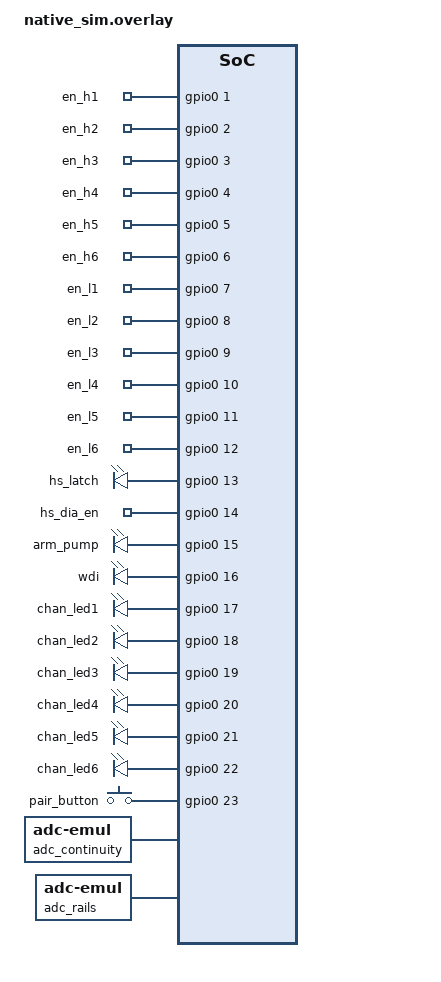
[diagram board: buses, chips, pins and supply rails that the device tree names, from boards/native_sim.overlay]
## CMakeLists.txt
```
# SPDX-License-Identifier: GPL-3.0-only

cmake_minimum_required(VERSION 3.20.0)

# The satellite board itself: firmware/boards/others/alturia_satellite.
list(APPEND BOARD_ROOT ${CMAKE_CURRENT_SOURCE_DIR}/..)

find_package(Zephyr REQUIRED HINTS $ENV{ZEPHYR_BASE})
project(launch_satellite)

target_sources(app PRIVATE
	src/main.c
	src/commands.c
	src/pair_ui.c
	src/channels.c
	src/rail.c
	src/shell_cmds.c
	src/arm.c
	src/fault.c
	src/ignlog.c
)

# The satellite's end of the secure LoRa link, shared with the bench.
set(LSEC_LINK sat)
set(LSEC_RADIO ON)
include(${CMAKE_CURRENT_SOURCE_DIR}/../common/link/link_sec.cmake)

# Command and status payloads, shared with the controller.
target_include_directories(app PRIVATE ../common/wire)
target_sources(app PRIVATE ../common/wire/sat_wire.c)

# Ignition log records, and their mcumgr group, shared with the controller.
include(${CMAKE_CURRENT_SOURCE_DIR}/../common/ignlog/ignlog.cmake)

# Buzzer tunes, shared with the controller.
target_include_directories(app PRIVATE ../common/chime)
target_sources(app PRIVATE ../common/chime/chime.c)

# native_sim: LEDs and pairing button in the radio network simulator's UI.
if(LSEC_RADIO_SIM)
	target_sources(app PRIVATE src/sim_io.c)
endif()

# Firmware updates: refuse while armed, confirm a new image once up.
include(${CMAKE_CURRENT_SOURCE_DIR}/../common/mgmt/dfu_guard.cmake)
```

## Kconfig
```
# SPDX-License-Identifier: GPL-3.0-only

mainmenu "Launch satellite"

rsource "../common/link/Kconfig"

menu "Ignition log"

config SAT_IGNLOG_RECORDS
	int "Channel pulses kept"
	default 8
	range 1 8
	help
	  How many records the ignition log keeps in RAM, one per channel
	  and pulse; the oldest goes first. Each one takes
	  32 + 2 * SAT_IGNLOG_MAX_SAMPLES bytes.

config SAT_IGNLOG_MAX_SAMPLES
	int "Samples per record"
	default 1024
	range 16 8192

config SAT_IGNLOG_PERIOD_US
	int "Sample period (us)"
	default 1000
	range 200 10000
	help
	  The MCP3208 at 1 MHz takes about 25 us per conversion; with six
	  channels and V_PYRO, 1 ms leaves the CPU most of its time.

endmenu

source "Kconfig.zephyr"
```

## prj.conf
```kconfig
CONFIG_MAIN_STACK_SIZE=4096

# Diagnostics over the USB console and the UART header
CONFIG_LOG=y
CONFIG_SHELL=y
CONFIG_SHELL_LOG_BACKEND=n

# Peripherals the satellite drives
CONFIG_GPIO=y
CONFIG_SPI=y
CONFIG_ADC=y
CONFIG_SENSOR=y
# The SPI-attached ADCs must come up after the SPI controller
CONFIG_ADC_INIT_PRIORITY=80

# Key and configuration storage
CONFIG_FLASH=y
CONFIG_FLASH_MAP=y
CONFIG_ZMS=y
CONFIG_SETTINGS=y
CONFIG_SETTINGS_ZMS=y

# Link security (../common/link, documentation/radio_link.md): ECDH P-256 for
# pairing, HMAC/HKDF-SHA256 for commitments and key derivation, AES-128-CCM
# for every frame.
CONFIG_PSA_CRYPTO=y
CONFIG_MBEDTLS_ENABLE_HEAP=y
CONFIG_MBEDTLS_HEAP_SIZE=8192
CONFIG_PSA_WANT_KEY_TYPE_AES=y
CONFIG_PSA_WANT_ALG_CCM=y
CONFIG_PSA_WANT_ALG_SHA_256=y
CONFIG_PSA_WANT_ALG_HMAC=y
CONFIG_PSA_WANT_ALG_ECDH=y
CONFIG_PSA_WANT_ALG_HKDF=y
CONFIG_PSA_WANT_ECC_SECP_R1_256=y
CONFIG_PSA_WANT_KEY_TYPE_ECC_KEY_PAIR_GENERATE=y
CONFIG_PSA_WANT_KEY_TYPE_ECC_PUBLIC_KEY=y

# CRCs over the ignition log records kept in RAM over a reset
CONFIG_CRC=y

# Satellite identity for pairing, and the pairing button
CONFIG_HWINFO=y
CONFIG_INPUT=y

# TRNG for nonces and session keys
CONFIG_ENTROPY_GENERATOR=y
```

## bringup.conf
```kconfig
# SPDX-License-Identifier: GPL-3.0-only
#
# Bring-up shells: poke pins and read the ADCs from the shell
# (gpio get/set/conf/info, adc <dev> read <ch>, pwm). They cost some
# 15 KB, so they are off in the normal build to leave the app room in
# MCUboot's slots. Add them with
#   west build ... -- -Dsatellite_EXTRA_CONF_FILE=bringup.conf   (sysbuild)
#   west build ... -- -DEXTRA_CONF_FILE=bringup.conf             (without)

CONFIG_GPIO_SHELL=y
CONFIG_ADC_SHELL=y
CONFIG_PWM_SHELL=y
```

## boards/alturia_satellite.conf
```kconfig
# The real satellite board (firmware/boards/others/alturia_satellite). The console
# and shell are on USB-C; the board turns on the CDC ACM backend.

# LoRa link to the operator console (Wio-SX1262)
CONFIG_LORA=y
CONFIG_LORA_SHELL=n

# The native SX126x driver, kept in standby between operations. It waits
# on BUSY without sleeping, so a reply goes out within a millisecond of
# its slot starting. loramac-node sleeps the chip after every call, which
# put some 40 ms of jitter-prone setup around each transmission.
CONFIG_LORA_MODULE_BACKEND_NATIVE=y
CONFIG_LORA_SX126X_NATIVE_SLEEP=n

CONFIG_CDC_ACM_SERIAL_PRODUCT_STRING="Launch satellite"

# Start-up chime on the PWM buzzer
CONFIG_BUZZER=y

# Same timer resolution as the controller: slot timing is in 100 us.
CONFIG_SYS_CLOCK_TICKS_PER_SEC=10000

# The GPIO, ADC and PWM shells for bring-up are in bringup.conf; with
# MCUboot's two slots the app has to stay under 232 KB. devmem and date
# are of no use on the satellite either.
CONFIG_DEVMEM_SHELL=n
CONFIG_DATE_SHELL=n
# kernel reboot
CONFIG_REBOOT=y

# The USB console is the shell, so logs have to go through it; without
# this they go nowhere on this board.
CONFIG_SHELL_LOG_BACKEND=y
```

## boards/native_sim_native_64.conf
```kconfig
# The satellite as a node of the radio network simulator (tools/radiosim):
# the link runs over common/lora/radio_sim.c, the pyro outputs, LEDs and
# the pairing button are emulated GPIOs, the ADCs emulated ADCs, and the
# console is the native_sim UART.
CONFIG_GPIO_EMUL=y
CONFIG_ADC_EMUL=y
CONFIG_SERIAL=y

# Same timer resolution as the controller: slot timing is in 100 us.
CONFIG_SYS_CLOCK_TICKS_PER_SEC=10000
```

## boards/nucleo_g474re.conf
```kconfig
# Hardware of the satellite board (here the Nucleo with the SX1262 shield)
# that native_sim does not have; see boards/native_sim_native_64.conf for that one.

# LoRa link to the operator console (SX1262; Wio-SX1262 on the board)
CONFIG_LORA=y
CONFIG_LORA_SHELL=n

# Console over USB-C (CDC ACM). Keys are no longer loaded this way: the
# satellite pairs with the console over LoRa, see documentation/radio_link.md.
CONFIG_USB_DEVICE_STACK_NEXT=y
CONFIG_SERIAL=y
CONFIG_CDC_ACM_SERIAL_INITIALIZE_AT_BOOT=y
CONFIG_CDC_ACM_SERIAL_PRODUCT_STRING="Launch satellite"

# The native SX126x driver, kept in standby between operations. It waits
# on BUSY without sleeping, so a reply goes out within a millisecond of
# its slot starting. loramac-node sleeps the chip after every call, which
# put some 40 ms of jitter-prone setup around each transmission.
CONFIG_LORA_MODULE_BACKEND_NATIVE=y
CONFIG_LORA_SX126X_NATIVE_SLEEP=n
```

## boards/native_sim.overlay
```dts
/*
 * The satellite on native_sim, as a node of the radio network simulator
 * (tools/radiosim). Every output the real board drives is a pin of the
 * emulated gpio0 so the simulator can show it, and the ADCs are emulators.
 *
 *   gpio0  0      status LED (the board's led0)
 *          1-6    high-side enables EN_H1..6
 *          7-12   low-side gates EN_L1..6
 *          13-16  HS latch, HS diagnostics, arm pump, watchdog
 *          17-22  channel LEDs 1..6, which also show the pairing pattern
 *          23     pairing button (the continuity button on the board)
 */

#include <zephyr/dt-bindings/gpio/gpio.h>
#include <zephyr/dt-bindings/input/input-event-codes.h>

/ {
	aliases {
		chan-led0 = &chan_led1;
		chan-led1 = &chan_led2;
		chan-led2 = &chan_led3;
		chan-led3 = &chan_led4;
		chan-led4 = &chan_led5;
		chan-led5 = &chan_led6;
	};

	pyro_enables {
		compatible = "gpio-leds";
		en_h1: en_h1 { gpios = <&gpio0 1 GPIO_ACTIVE_HIGH>; };
		en_h2: en_h2 { gpios = <&gpio0 2 GPIO_ACTIVE_HIGH>; };
		en_h3: en_h3 { gpios = <&gpio0 3 GPIO_ACTIVE_HIGH>; };
		en_h4: en_h4 { gpios = <&gpio0 4 GPIO_ACTIVE_HIGH>; };
		en_h5: en_h5 { gpios = <&gpio0 5 GPIO_ACTIVE_HIGH>; };
		en_h6: en_h6 { gpios = <&gpio0 6 GPIO_ACTIVE_HIGH>; };
		en_l1: en_l1 { gpios = <&gpio0 7 GPIO_ACTIVE_HIGH>; };
		en_l2: en_l2 { gpios = <&gpio0 8 GPIO_ACTIVE_HIGH>; };
		en_l3: en_l3 { gpios = <&gpio0 9 GPIO_ACTIVE_HIGH>; };
		en_l4: en_l4 { gpios = <&gpio0 10 GPIO_ACTIVE_HIGH>; };
		en_l5: en_l5 { gpios = <&gpio0 11 GPIO_ACTIVE_HIGH>; };
		en_l6: en_l6 { gpios = <&gpio0 12 GPIO_ACTIVE_HIGH>; };
		hs_latch: hs_latch { gpios = <&gpio0 13 GPIO_ACTIVE_HIGH>; };
		hs_dia_en: hs_dia_en { gpios = <&gpio0 14 GPIO_ACTIVE_HIGH>; };
		arm_pump: arm_pump { gpios = <&gpio0 15 GPIO_ACTIVE_HIGH>; };
		wdi: wdi { gpios = <&gpio0 16 GPIO_ACTIVE_HIGH>; };
	};

	chan_leds {
		compatible = "gpio-leds";
		chan_led1: chan_led1 { gpios = <&gpio0 17 GPIO_ACTIVE_HIGH>; };
		chan_led2: chan_led2 { gpios = <&gpio0 18 GPIO_ACTIVE_HIGH>; };
		chan_led3: chan_led3 { gpios = <&gpio0 19 GPIO_ACTIVE_HIGH>; };
		chan_led4: chan_led4 { gpios = <&gpio0 20 GPIO_ACTIVE_HIGH>; };
		chan_led5: chan_led5 { gpios = <&gpio0 21 GPIO_ACTIVE_HIGH>; };
		chan_led6: chan_led6 { gpios = <&gpio0 22 GPIO_ACTIVE_HIGH>; };
	};

	pair_keys {
		compatible = "gpio-keys";

		pair_button: pair_button {
			gpios = <&gpio0 23 GPIO_ACTIVE_HIGH>;
			zephyr,code = <INPUT_KEY_0>;
		};
	};

	/* 24-bit continuity ADC and 12-bit rail ADC. */
	adc_continuity: adc_continuity {
		compatible = "zephyr,adc-emul";
		nchannels = <6>;
		ref-internal-mv = <2500>;
		#io-channel-cells = <1>;
		status = "okay";
	};

	adc_rails: adc_rails {
		compatible = "zephyr,adc-emul";
		nchannels = <8>;
		ref-external0-mv = <4096>;
		#io-channel-cells = <1>;
		status = "okay";
	};
};
```

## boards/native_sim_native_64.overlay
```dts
/* 64-bit native_sim uses the same setup. */
#include "native_sim.overlay"
```

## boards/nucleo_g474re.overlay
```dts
/*
 * Stand-in wiring for the satellite board on a Nucleo-G474RE, so that every
 * driver the real board needs is compiled into the image. Pin choices are
 * arbitrary where the Nucleo has no equivalent; only the device set matters.
 *
 * The SX1262 comes from the semtech_sx1262mb2das shield on arduino_spi.
 * Its RF switch is driven the way the board's Wio-SX1262 needs: DIO2
 * selects TX and antenna-enable-gpios powers the switch. The board port
 * adds dio3-tcxo-voltage = <SX126X_DIO3_TCXO_1V8> and puts
 * antenna-enable-gpios on PC13 (LORA_RF_SW).
 */

#include <zephyr/dt-bindings/gpio/gpio.h>

/* USB-C: key provisioning path. The Nucleo has no USB connector, but the
 * G474 peripheral is the same one the satellite board uses.
 */
zephyr_udc0: &usb {
	pinctrl-0 = <&usb_dm_pa11 &usb_dp_pa12>;
	pinctrl-names = "default";
	status = "okay";

	cdc_acm_uart0: cdc_acm_uart0 {
		compatible = "zephyr,cdc-acm-uart";
	};
};

/* Sense chain: 24-bit ADC for continuity, 12-bit ADC for the rail dividers. */
&spi2 {
	cs-gpios = <&gpiob 12 GPIO_ACTIVE_LOW>,
		   <&gpioc 6 GPIO_ACTIVE_LOW>;

	adc_continuity: ads124s08@0 {
		compatible = "ti,ads124s08";
		reg = <0>;
		spi-max-frequency = <4000000>;
		#io-channel-cells = <1>;
		drdy-gpios = <&gpioc 0 GPIO_ACTIVE_LOW>;
		reset-gpios = <&gpioc 1 GPIO_ACTIVE_LOW>;
		start-sync-gpios = <&gpioc 2 GPIO_ACTIVE_HIGH>;
	};

	adc_rails: mcp3208@1 {
		compatible = "microchip,mcp3208";
		reg = <1>;
		spi-max-frequency = <1000000>;
		#io-channel-cells = <1>;
	};
};

/* Pyro channel control lines. On the satellite these are G474 GPIOs driving
 * the TPS1HB08 enables and the low-side gates directly; gpio-leds is a
 * stand-in compatible so they can be fetched with GPIO_DT_SPEC_GET.
 */
/ {
	pyro_enables {
		compatible = "gpio-leds";
		en_h1: en_h1 { gpios = <&gpioa 0 GPIO_ACTIVE_HIGH>; };
		en_h2: en_h2 { gpios = <&gpioa 1 GPIO_ACTIVE_HIGH>; };
		en_h3: en_h3 { gpios = <&gpioa 4 GPIO_ACTIVE_HIGH>; };
		en_h4: en_h4 { gpios = <&gpioa 8 GPIO_ACTIVE_HIGH>; };
		en_h5: en_h5 { gpios = <&gpioa 9 GPIO_ACTIVE_HIGH>; };
		en_h6: en_h6 { gpios = <&gpioa 10 GPIO_ACTIVE_HIGH>; };
		en_l1: en_l1 { gpios = <&gpiob 0 GPIO_ACTIVE_HIGH>; };
		en_l2: en_l2 { gpios = <&gpiob 1 GPIO_ACTIVE_HIGH>; };
		en_l3: en_l3 { gpios = <&gpiob 2 GPIO_ACTIVE_HIGH>; };
		en_l4: en_l4 { gpios = <&gpiob 3 GPIO_ACTIVE_HIGH>; };
		en_l5: en_l5 { gpios = <&gpiob 5 GPIO_ACTIVE_HIGH>; };
		en_l6: en_l6 { gpios = <&gpiob 7 GPIO_ACTIVE_HIGH>; };
		hs_latch: hs_latch { gpios = <&gpioc 3 GPIO_ACTIVE_HIGH>; };
		hs_dia_en: hs_dia_en { gpios = <&gpioc 4 GPIO_ACTIVE_HIGH>; };
		arm_pump: arm_pump { gpios = <&gpioc 5 GPIO_ACTIVE_HIGH>; };
		wdi: wdi { gpios = <&gpioc 7 GPIO_ACTIVE_HIGH>; };
	};
};
```

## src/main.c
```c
/* SPDX-License-Identifier: GPL-3.0-only */

#include <zephyr/kernel.h>
#include <zephyr/logging/log.h>
#include <zephyr/settings/settings.h>
#include <stdbool.h>

#include "dfu_guard.h"
#include "ignlog.h"
#include "radio.h"
#include "sat_link.h"
#include "satellite.h"

LOG_MODULE_REGISTER(satellite, LOG_LEVEL_INF);

/* When a poll addressed to us last arrived (k_uptime_get_32); the console's heartbeat. */
static atomic_t last_poll_ms;

static void disarm_all(const char *why)
{
	commands_disarm(why);
}

/* mcumgr uploads and resets (common/mgmt/dfu_guard.c): only while SAFE. */
bool app_dfu_allowed(void)
{
	return channels_all_safe() && !arm_relay_on();
}

/* After this long in the main loop, a newly updated image is kept. */
#define DFU_CONFIRM_MS 5000

/* Runs on the link thread. */
static void on_link_event(const struct lsec_event *ev)
{
	switch (ev->type) {
	case LSEC_EV_SAS:
		pair_ui_show(ev->sas);
		break;
	case LSEC_EV_PAIRED:
		pair_ui_show(NULL);
		LOG_INF("paired as slot %u", ev->slot);
		break;
	case LSEC_EV_PAIR_FAILED:
		pair_ui_show(NULL);
		LOG_WRN("pairing failed (%d)", ev->reason);
		break;
	case LSEC_EV_JOINED:
		LOG_INF("session with the console up");
		break;
	case LSEC_EV_POLL:
		/*
		 * The console polls us: it is alive and counts us in. The
		 * poll carries our command; the status is the reply.
		 */
		atomic_set(&last_poll_ms, (atomic_val_t)k_uptime_get_32());
		commands_on_poll(ev);
		break;
	case LSEC_EV_LEFT:
		disarm_all("session with the console dropped");
		break;
	case LSEC_EV_DATA:
		/* Commands come in polls (commands.c); nothing else is sent
		 * this way yet. Only authenticated, fresh frames from our
		 * console get this far.
		 */
		LOG_DBG("%s frame, %u bytes", ev->group ? "group" : "unicast", (unsigned)ev->len);
		break;
	default:
		break;
	}
}

int main(void)
{
	int ret;

	ret = settings_subsys_init();
	if (ret) {
		LOG_ERR("settings init: %d", ret);
		chime_error();
		dfu_image_bad();
		return ret;
	}

	ret = arm_init();
	if (ret) {
		LOG_ERR("arm path init: %d", ret);
		chime_error();
		dfu_image_bad();
		return ret;
	}

	ret = channels_init();
	if (ret) {
		LOG_ERR("channels init: %d", ret);
		chime_error();
		dfu_image_bad();
		return ret;
	}

	ret = ignlog_init();
	if (ret) {
		/* Not fatal: the log is for diagnostics only. */
		LOG_ERR("ignition log init: %d", ret);
	}

	ret = pair_ui_init();
	if (ret) {
		LOG_ERR("pairing UI init: %d", ret);
		chime_error();
		dfu_image_bad();
		return ret;
	}

	/*
	 * The Wio-SX1262 switches its own RF path: DIO2 selects TX and the
	 * driver powers the switch from RF_SW (antenna-enable-gpios). No
	 * front-end.
	 */
	ret = radio_init(NULL);
	if (ret) {
		LOG_ERR("radio init: %d", ret);
		chime_error();
		dfu_image_bad();
		return ret;
	}

	ret = sat_link_init(on_link_event, &link_radio_transport);
	if (ret) {
		LOG_ERR("link init: %d", ret);
		chime_error();
		dfu_image_bad();
		return ret;
	}

	LOG_INF("satellite up, %d channels", SAT_CHANNELS);
	chime_startup();

	bool image_ok = false;

	while (true) {
		k_sleep(K_MSEC(100));

		if (!image_ok && k_uptime_get() > DFU_CONFIRM_MS) {
			dfu_image_ok();
			image_ok = true;
		}

		commands_measure();

		/* The console's heartbeat is being polled; without it, SAFE. */
		if ((uint32_t)(k_uptime_get_32() - (uint32_t)atomic_get(&last_poll_ms)) >
		    LINK_SAT_SAFE_TIMEOUT_MS) {
			disarm_all("the console stopped polling");
		}
	}

	return 0;
}
```

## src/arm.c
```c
/* SPDX-License-Identifier: GPL-3.0-only */

#include <zephyr/kernel.h>
#include <zephyr/drivers/gpio.h>
#include <zephyr/logging/log.h>

#include "satellite.h"

LOG_MODULE_REGISTER(arm, LOG_LEVEL_INF);

/*
 * The arm relay K1 (hardware/satellite 04_arm). Its coil is fed from VKEY,
 * so the key relay K2 must be closed, and switched by Q2 from the '123
 * one-shot U6: Q stays high for about 150 ms (150k x 1u) after each falling
 * edge on ARM_PUMP, as long as ARM_ENABLE (CLR) is high. Dropping
 * ARM_ENABLE releases K1 at once.
 *
 * The pump is toggled from a work item, in software, so K1 falls out
 * when the firmware stops running; never from a timer peripheral or PWM.
 */
#if DT_NODE_EXISTS(DT_NODELABEL(arm_enable)) && DT_NODE_EXISTS(DT_NODELABEL(arm_pump))

/* Half period: a falling edge every 80 ms against the 150 ms one-shot. */
#define PUMP_HALF_MS 40

static const struct gpio_dt_spec arm_enable = GPIO_DT_SPEC_GET(DT_NODELABEL(arm_enable), gpios);
static const struct gpio_dt_spec arm_pump = GPIO_DT_SPEC_GET(DT_NODELABEL(arm_pump), gpios);
#if DT_NODE_EXISTS(DT_NODELABEL(key_enabled))
static const struct gpio_dt_spec key = GPIO_DT_SPEC_GET(DT_NODELABEL(key_enabled), gpios);
#endif

static bool pumping;
static bool pump_level;

static void pump_fn(struct k_work *work);
static K_WORK_DELAYABLE_DEFINE(pump_work, pump_fn);

static void pump_fn(struct k_work *work)
{
	if (!pumping) {
		return;
	}

	pump_level = !pump_level;
	(void)gpio_pin_set_dt(&arm_pump, pump_level);
	k_work_reschedule(&pump_work, K_MSEC(PUMP_HALF_MS));
}

int arm_init(void)
{
	int ret;

	if (!gpio_is_ready_dt(&arm_enable) || !gpio_is_ready_dt(&arm_pump)) {
		return -ENODEV;
	}

	/* CLR first, so that nothing below can fire the one-shot. */
	ret = gpio_pin_configure_dt(&arm_enable, GPIO_OUTPUT_INACTIVE);
	if (ret) {
		return ret;
	}

	return gpio_pin_configure_dt(&arm_pump, GPIO_OUTPUT_INACTIVE);
}

int arm_relay_set(bool on)
{
	int ret;

	if (!on) {
		pumping = false;
		k_work_cancel_delayable(&pump_work);
		ret = gpio_pin_set_dt(&arm_enable, 0);
		(void)gpio_pin_set_dt(&arm_pump, 0);
		pump_level = false;
		LOG_INF("arm relay released");
		return ret;
	}

	if (pumping) {
		return 0;
	}

	/* ARM_PUMP high before CLR rises: CLR rising with A low triggers
	 * the one-shot by itself. Then the falling edges hold it.
	 */
	pump_level = true;
	ret = gpio_pin_set_dt(&arm_pump, 1);
	if (ret) {
		return ret;
	}

	ret = gpio_pin_set_dt(&arm_enable, 1);
	if (ret) {
		(void)gpio_pin_set_dt(&arm_pump, 0);
		return ret;
	}

	pumping = true;
	k_work_reschedule(&pump_work, K_MSEC(PUMP_HALF_MS));
	LOG_INF("arm relay pumping");
	return 0;
}

bool arm_relay_on(void)
{
	return pumping;
}

int arm_key_on(void)
{
#if DT_NODE_EXISTS(DT_NODELABEL(key_enabled))
	return gpio_pin_get_dt(&key);
#else
	return -ENOTSUP;
#endif
}

#else /* No arm path in the devicetree (native_sim, the Nucleo). */

int arm_init(void)
{
	return 0;
}

int arm_relay_set(bool on)
{
	return on ? -ENOTSUP : 0;
}

bool arm_relay_on(void)
{
	return false;
}

int arm_key_on(void)
{
	return -ENOTSUP;
}

#endif
```

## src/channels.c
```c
/* SPDX-License-Identifier: GPL-3.0-only */

#include <math.h>

#include <zephyr/kernel.h>
#include <zephyr/drivers/gpio.h>
#include <zephyr/drivers/adc.h>
#include <zephyr/logging/log.h>

#include "ignlog.h"
#include "satellite.h"

LOG_MODULE_REGISTER(channels, LOG_LEVEL_INF);

#define EN_SPEC(node) GPIO_DT_SPEC_GET(DT_NODELABEL(node), gpios)

/* High-side enable into the TPS1HB08, low-side gate to the igniter FET.
 * Both must be asserted for current to flow; the arm relay holds the rail.
 * Arming switches neither: both go on together only for a fire pulse or a
 * held valve, so while armed a single stuck switch still fires nothing.
 */
static const struct gpio_dt_spec enable_high[SAT_CHANNELS] = {
	EN_SPEC(en_h1), EN_SPEC(en_h2), EN_SPEC(en_h3),
	EN_SPEC(en_h4), EN_SPEC(en_h5), EN_SPEC(en_h6),
};

static const struct gpio_dt_spec enable_low[SAT_CHANNELS] = {
	EN_SPEC(en_l1), EN_SPEC(en_l2), EN_SPEC(en_l3),
	EN_SPEC(en_l4), EN_SPEC(en_l5), EN_SPEC(en_l6),
};

static const struct gpio_dt_spec hs_latch = EN_SPEC(hs_latch);
static const struct gpio_dt_spec hs_dia_en = EN_SPEC(hs_dia_en);

/* Continuity is the 24-bit ADC across the igniter; the 12-bit part carries
 * the rail dividers.
 */
static const struct device *const adc_cont = DEVICE_DT_GET(DT_NODELABEL(adc_continuity));
static const struct device *const adc_rails = DEVICE_DT_GET(DT_NODELABEL(adc_rails));

/* The ADS124S08 has a single ADC channel whose input mux picks AINn
 * against AINCOM (GND); AIN(n - 1) is channel n. Its codes are 24-bit
 * two's complement, full scale at +-Vref. The native_sim emulator has one
 * ADC channel per input instead.
 */
#define CONT_IS_ADS124S08 DT_NODE_HAS_COMPAT(DT_NODELABEL(adc_continuity), ti_ads124s08)
#define CONT_AINCOM 12

static K_MUTEX_DEFINE(cont_lock);

static bool armed[SAT_CHANNELS];
static int16_t sample_buf;

/* Low sides on: a fire pulse in progress, and valves held open. */
static uint8_t pulsing;
static uint8_t valves;

/* DIA_EN: on from the shell (sat diag), or held for the ignition log. */
static bool dia_user;
static atomic_t dia_hold;

static void pulse_end_fn(struct k_work *work);
static int update_outputs(int ch);
static K_WORK_DELAYABLE_DEFINE(pulse_end, pulse_end_fn);

static int adc_setup(const struct device *dev, uint8_t ch, uint8_t ref)
{
	struct adc_channel_cfg cfg = {
		.gain = ADC_GAIN_1,
		.reference = ref,
		.acquisition_time = ADC_ACQ_TIME_DEFAULT,
		.channel_id = ch,
		.differential = 0,
	};

	return adc_channel_setup(dev, &cfg);
}

static int adc_read_ch(const struct device *dev, uint8_t ch, int32_t *mv)
{
	struct adc_sequence seq = {
		.channels = BIT(ch),
		.buffer = &sample_buf,
		.buffer_size = sizeof(sample_buf),
		.resolution = 12,
	};
	int ret;

	ret = adc_read(dev, &seq);
	if (ret) {
		return ret;
	}

	*mv = sample_buf;
	return adc_raw_to_millivolts(adc_ref_internal(dev), ADC_GAIN_1, seq.resolution, mv);
}

static int cont_setup_ref(int ch, enum adc_reference ref)
{
	struct adc_channel_cfg cfg = {
		.gain = ADC_GAIN_1,
		.reference = ref,
		.acquisition_time = ADC_ACQ_TIME_DEFAULT,
#if CONT_IS_ADS124S08
		.channel_id = 0,
		.input_positive = ch,
		.input_negative = CONT_AINCOM,
#else
		.channel_id = ch,
#endif
	};

	return adc_channel_setup(adc_cont, &cfg);
}

static int cont_setup(int ch)
{
	return cont_setup_ref(ch, ADC_REF_INTERNAL);
}

#if CONT_IS_ADS124S08
/* One conversion of AIN(ch) against @p ref, as a fraction of full scale
 * (bipolar: +-1 at +-Vref). Caller holds cont_lock.
 */
static int cont_convert(int ch, enum adc_reference ref, float *frac)
{
	int32_t raw;
	struct adc_sequence seq = {
		.channels = BIT(0),
		.buffer = &raw,
		.buffer_size = sizeof(raw),
		.resolution = 24,
	};
	int ret;

	ret = cont_setup_ref(ch, ref);
	if (!ret) {
		ret = adc_read(adc_cont, &seq);
	}
	if (ret) {
		return ret;
	}

	*frac = (float)raw / (float)BIT(23);
	return 0;
}

/* One conversion of AIN(ch) against the internal reference, in microvolts. */
static int cont_convert_uv(int ch, int32_t *uv)
{
	float frac;
	int ret = cont_convert(ch, ADC_REF_INTERNAL, &frac);

	if (!ret) {
		*uv = (int32_t)(frac * (float)adc_ref_internal(adc_cont) * 1000.0f);
	}
	return ret;
}
#endif

static int cont_read(int ch, int32_t *mv)
{
#if CONT_IS_ADS124S08
	int32_t uv = 0;
	int ret;

	k_mutex_lock(&cont_lock, K_FOREVER);
	ret = cont_convert_uv(ch, &uv);
	k_mutex_unlock(&cont_lock);

	if (!ret) {
		*mv = uv / 1000;
	}
	return ret;
#else
	return adc_read_ch(adc_cont, ch, mv);
#endif
}

#if CONT_IS_ADS124S08 && DT_NODE_EXISTS(DT_NODELABEL(cont_en))
/*
 * The continuity source (hardware/satellite output_channel, 06_sense_ui):
 *
 *   +3.3VA - Q1 (CONT_EN) - R12 270R - V_TEST - 1N4148 - 1k - PYRO_H - R - PYRO_L - low side - GND
 *                                        |                        `- 3k3 - tap - 1k - GND
 *                                      REFP0                                `- 10k - AINn
 *
 * The ADC reads the tap, PYRO_H / 4.3. The current through R is what the
 * 1k carries, (V_TEST - diode - PYRO_H) / 1k, less the divider's share.
 * V_TEST is REFP0, so converting one tap against both REFP0 and the
 * internal reference gives V_TEST itself (the schematic puts the reference
 * on V_TEST). The diode drop does not scale with
 * V_TEST and is measured instead:
 *
 *   A  low side off: this channel draws through diode, 1k and divider
 *      only. Its tap against both references gives V_TEST, PYRO_H and the
 *      current, hence the diode drop at that current.
 *   B  low side on: this channel's tap gives PYRO_H; an idle channel's tap
 *      against both references gives V_TEST under this load. The diode
 *      drop is A's plus the diode-law step to the higher current.
 *   Z  V_TEST off, low side still on: the output is at 0 V, so what the
 *      ADC reads is its own zero, tens of uV against ~0.4 mV per ohm at
 *      the tap; it is subtracted from A and B.
 *
 * If no other channel is idle, V_TEST under load is solved from R12's sag
 * instead. What is left is the 1 % resistors and the diode law's ideality
 * and temperature, a few mV against the ~1.7 V across the 1k.
 */
#define CONT_R_SRC 270.0f	/* R12 */
#define CONT_R_SER 1000.0f	/* 1k into PYRO_H */
#define CONT_R_DIV 4300.0f	/* 3k3 + 1k sense divider */
#define CONT_DIV_RATIO 4.3f	/* PYRO_H / tap */
#define CONT_R_OPEN (CONT_R_SER + CONT_R_DIV)
#define CONT_N_OTHER ((float)(SAT_CHANNELS - 1))
/* 1N4148: ideality ~1.9, thermal voltage at 25 C. */
#define CONT_DIODE_NVT (1.9f * 0.0257f)
/* Below this the resistor carries too little of the test current to tell from open. */
#define CONT_OPEN_BELOW_A 20e-6f
/* V_TEST and the sense filter (10k x 100n) settle well inside this. */
#define CONT_SETTLE_MS 20

static const struct gpio_dt_spec cont_en = GPIO_DT_SPEC_GET(DT_NODELABEL(cont_en), gpios);

static int cont_en_init(void)
{
	if (!gpio_is_ready_dt(&cont_en)) {
		return -ENODEV;
	}
	return gpio_pin_configure_dt(&cont_en, GPIO_OUTPUT_INACTIVE);
}

struct cont_samples {
	float xa;		/* A: tap / V_TEST */
	int32_t tap_a_uv;	/* A: tap */
	int32_t tap_b_uv;	/* B: tap */
	float x_idle;		/* B: idle channel's tap / V_TEST */
	int32_t idle_uv;	/* B: idle channel's tap */
	int32_t zero_uv;	/* Z: tap with the output at 0 V */
};

/* A, B and Z above. Entered with V_TEST on; leaves V_TEST and the
 * channel's low side off. @p idle < 0: no idle channel to read.
 */
static int cont_sample(int ch, int idle, struct cont_samples *s)
{
	int ret;

	k_msleep(CONT_SETTLE_MS);
	ret = cont_convert(ch, ADC_REF_EXTERNAL0, &s->xa);
	if (!ret) {
		ret = cont_convert_uv(ch, &s->tap_a_uv);
	}
	if (ret) {
		return ret;
	}

	ret = gpio_pin_set_dt(&enable_low[ch], 1);
	if (!ret) {
		k_msleep(CONT_SETTLE_MS);
		ret = cont_convert_uv(ch, &s->tap_b_uv);
	}
	if (!ret && idle >= 0) {
		ret = cont_convert(idle, ADC_REF_EXTERNAL0, &s->x_idle);
		if (!ret) {
			ret = cont_convert_uv(idle, &s->idle_uv);
		}
	}
	(void)gpio_pin_set_dt(&cont_en, 0);
	if (!ret) {
		k_msleep(CONT_SETTLE_MS);
		ret = cont_convert_uv(ch, &s->zero_uv);
	}
	(void)update_outputs(ch);
	return ret;
}

int channels_continuity_mohm(int ch, struct cont_result *res)
{
	struct cont_samples s = {0};
	int idle = -1;
	int ret;

	if (ch < 0 || ch >= SAT_CHANNELS) {
		return -EINVAL;
	}

	/*
	 * The low side goes on below: never with the high side enabled. The
	 * check is under cont_lock, which channels_arm() takes too, so an ARM
	 * cannot come in between it and the low side.
	 */
	k_mutex_lock(&cont_lock, K_FOREVER);
	if (armed[ch]) {
		k_mutex_unlock(&cont_lock);
		return -EBUSY;
	}
	/* The neighbour whose tap shows V_TEST under load: unarmed, so its
	 * output is driven by the test source alone.
	 */
	for (int i = 1; i < SAT_CHANNELS; i++) {
		int j = (ch + i) % SAT_CHANNELS;

		if (!armed[j] && !((pulsing | valves) & BIT(j))) {
			idle = j;
			break;
		}
	}

	ret = gpio_pin_set_dt(&cont_en, 1);
	if (!ret) {
		ret = cont_sample(ch, idle, &s);
	}
	(void)gpio_pin_set_dt(&cont_en, 0);
	k_mutex_unlock(&cont_lock);
	if (ret) {
		return ret;
	}

	/* No V_TEST, so no reference: nothing below means anything. */
	if (s.xa < 0.01f) {
		return -EIO;
	}

	const float z = (float)s.zero_uv * 1e-6f;

	/* A: idle. The ratio and the absolute reading share the offset, so
	 * V_TEST is exact; all of this channel's current is the divider's.
	 */
	const float vt_a = (float)s.tap_a_uv * 1e-6f / s.xa;
	const float vh_a = ((float)s.tap_a_uv * 1e-6f - z) * CONT_DIV_RATIO;
	const float i_a = vh_a / CONT_R_DIV;
	const float vd_a = vt_a - i_a * CONT_R_OPEN;
	/* Six channels idle behind R12: the +3.3VA it hangs from. */
	const float v_sup = vt_a + CONT_R_SRC * (CONT_N_OTHER + 1.0f) * i_a;

	/* B: loaded. */
	const float vh_b = ((float)s.tap_b_uv * 1e-6f - z) * CONT_DIV_RATIO;
	const bool measured = idle >= 0 && s.x_idle > 0.01f && s.x_idle < 0.95f;
	const float vt_meas = measured ? (float)s.idle_uv * 1e-6f / s.x_idle : 0.0f;
	float vd_b = vd_a + CONT_DIODE_NVT * logf(5.0f);
	float vt_model = vt_a, vt_b = vt_a, i_b = i_a;

	for (int it = 0; it < 4; it++) {
		/* R12's sag: this channel loaded, the other five idle. */
		vt_model = (v_sup + CONT_R_SRC * (vd_b + vh_b) / CONT_R_SER +
			    CONT_N_OTHER * CONT_R_SRC * vd_a / CONT_R_OPEN) /
			   (1.0f + CONT_R_SRC / CONT_R_SER + CONT_N_OTHER * CONT_R_SRC / CONT_R_OPEN);
		vt_b = measured ? vt_meas : vt_model;
		i_b = (vt_b - vd_b - vh_b) / CONT_R_SER;
		vd_b = vd_a + (i_b > i_a ? CONT_DIODE_NVT * logf(i_b / i_a) : 0.0f);
	}

	const float i_r = i_b - vh_b / CONT_R_DIV;

	res->pyro_h_uv = (int32_t)(vh_b * 1e6f);
	res->v_test_uv = (int32_t)(vt_b * 1e6f);
	res->v_test_model_uv = (int32_t)(vt_model * 1e6f);
	res->v_test_from = measured ? idle : -1;
	res->diode_uv = (int32_t)(vd_b * 1e6f);
	res->zero_uv = s.zero_uv;
	res->current_na = (int32_t)(i_r * 1e9f);
	res->open = i_r < CONT_OPEN_BELOW_A;
	res->mohm = res->open ? INT32_MAX : (int32_t)MIN(vh_b / i_r * 1000.0f, (float)INT32_MAX);

	/* A diode drop outside this means the circuit is not the one modelled. */
	if (vd_a < 0.3f || vd_a > 0.85f) {
		return -ERANGE;
	}
	return 0;
}

int channels_check_high(int ch, int32_t *off_uv, int32_t *on_uv)
{
	int ret;

	if (ch < 0 || ch >= SAT_CHANNELS) {
		return -EINVAL;
	}

	k_mutex_lock(&cont_lock, K_FOREVER);
	if (armed[ch]) {
		k_mutex_unlock(&cont_lock);
		return -EBUSY;
	}

	/* The low side stays off throughout: no current through the igniter. */
	ret = gpio_pin_set_dt(&enable_low[ch], 0);
	if (!ret) {
		k_msleep(CONT_SETTLE_MS);
		ret = cont_convert_uv(ch, off_uv);
	}
	if (!ret) {
		ret = gpio_pin_set_dt(&enable_high[ch], 1);
		if (!ret) {
			k_msleep(CONT_SETTLE_MS);
			ret = cont_convert_uv(ch, on_uv);
		}
		(void)gpio_pin_set_dt(&enable_high[ch], 0);
	}
	k_mutex_unlock(&cont_lock);

	return ret;
}

#else

static int cont_en_init(void)
{
	return 0;
}

int channels_continuity_mohm(int ch, struct cont_result *res)
{
	return -ENOTSUP;
}

int channels_check_high(int ch, int32_t *off_uv, int32_t *on_uv)
{
	return -ENOTSUP;
}

#endif

int channels_init(void)
{
	int ret;

	for (int i = 0; i < SAT_CHANNELS; i++) {
		if (!gpio_is_ready_dt(&enable_high[i]) || !gpio_is_ready_dt(&enable_low[i])) {
			return -ENODEV;
		}

		ret = gpio_pin_configure_dt(&enable_high[i], GPIO_OUTPUT_INACTIVE);
		if (ret) {
			return ret;
		}

		ret = gpio_pin_configure_dt(&enable_low[i], GPIO_OUTPUT_INACTIVE);
		if (ret) {
			return ret;
		}
	}

	ret = gpio_pin_configure_dt(&hs_latch, GPIO_OUTPUT_INACTIVE);
	if (ret) {
		return ret;
	}

	ret = gpio_pin_configure_dt(&hs_dia_en, GPIO_OUTPUT_INACTIVE);
	if (ret) {
		return ret;
	}

	ret = cont_en_init();
	if (ret) {
		return ret;
	}

	if (!device_is_ready(adc_cont) || !device_is_ready(adc_rails)) {
		return -ENODEV;
	}

	for (int ch = 0; ch < SAT_CHANNELS; ch++) {
		ret = cont_setup(ch);
		if (ret) {
			LOG_ERR("continuity adc setup, channel %d: %d", ch + 1, ret);
			return ret;
		}
	}

	ret = adc_setup(adc_rails, 0, ADC_REF_EXTERNAL0);
	if (ret) {
		LOG_ERR("rail adc setup: %d", ret);
		return ret;
	}

	return 0;
}

/*
 * A channel's switches are on while it pulses or holds a valve, and armed:
 * high side first going on, low side first going off.
 */
static int update_outputs(int ch)
{
	bool on = armed[ch] && ((pulsing | valves) & BIT(ch));
	int ret;

	if (on) {
		ret = gpio_pin_set_dt(&enable_high[ch], 1);
		return ret ? ret : gpio_pin_set_dt(&enable_low[ch], 1);
	}

	ret = gpio_pin_set_dt(&enable_low[ch], 0);
	int ret_h = gpio_pin_set_dt(&enable_high[ch], 0);

	return ret ? ret : ret_h;
}

int channels_arm(int ch, bool on)
{
	int ret;

	if (ch < 0 || ch >= SAT_CHANNELS) {
		return -EINVAL;
	}

	if (!on) {
		armed[ch] = false;
		pulsing &= ~BIT(ch);
		valves &= ~BIT(ch);
		return update_outputs(ch);
	}

	/*
	 * A continuity measurement has the low side on: let it end (up to
	 * some 0.55 s) before the channel counts as armed and may fire.
	 */
	k_mutex_lock(&cont_lock, K_FOREVER);
	armed[ch] = true;
	ret = update_outputs(ch);
	k_mutex_unlock(&cont_lock);
	return ret;
}

uint8_t channels_armed_mask(void)
{
	uint8_t mask = 0;

	for (int ch = 0; ch < SAT_CHANNELS; ch++) {
		if (armed[ch]) {
			mask |= BIT(ch);
		}
	}
	return mask;
}

static void pulse_end_fn(struct k_work *work)
{
	uint8_t ended = pulsing;

	pulsing = 0;
	for (int ch = 0; ch < SAT_CHANNELS; ch++) {
		if (ended & BIT(ch)) {
			(void)update_outputs(ch);
		}
	}
	ignlog_stop();
}

int channels_pulse(uint8_t mask, uint32_t ms)
{
	if (mask & ~channels_armed_mask()) {
		return -EPERM;
	}
	if (pulsing) {
		return -EBUSY;
	}

	/* The current sense goes on before the outputs do. */
	ignlog_start(mask, ms);
	pulsing = mask;
	for (int ch = 0; ch < SAT_CHANNELS; ch++) {
		if (mask & BIT(ch)) {
			(void)update_outputs(ch);
		}
	}
	k_work_reschedule(&pulse_end, K_MSEC(ms));
	return 0;
}

uint8_t channels_pulsing(void)
{
	return pulsing;
}

int channels_valves(uint8_t mask)
{
	uint8_t changed;

	mask &= channels_armed_mask();
	changed = mask ^ valves;
	valves = mask;
	for (int ch = 0; ch < SAT_CHANNELS; ch++) {
		if (changed & BIT(ch)) {
			(void)update_outputs(ch);
		}
	}
	return 0;
}

uint8_t channels_valve_mask(void)
{
	return valves;
}

bool channels_all_safe(void)
{
	for (int i = 0; i < SAT_CHANNELS; i++) {
		if (armed[i]) {
			return false;
		}
	}

	return true;
}

int channels_fire(int ch, uint32_t ms)
{
	int ret;

	if (ch < 0 || ch >= SAT_CHANNELS) {
		return -EINVAL;
	}

	if (!armed[ch]) {
		return -EPERM;
	}

	ret = channels_pulse(BIT(ch), ms);
	if (ret) {
		return ret;
	}

	/* Blocking, for the shell: until the pulse timer has switched it off. */
	while (channels_pulsing() & BIT(ch)) {
		k_msleep(10);
	}
	return 0;
}

int channels_continuity(int ch, int32_t *mv)
{
	if (ch < 0 || ch >= SAT_CHANNELS) {
		return -EINVAL;
	}

	return cont_read(ch, mv);
}

int channels_rail_mv(int input, int32_t *mv)
{
	return adc_read_ch(adc_rails, input, mv);
}

int channels_diagnostics(bool on)
{
	dia_user = on;
	return gpio_pin_set_dt(&hs_dia_en, dia_user || atomic_get(&dia_hold));
}

void channels_sense_hold(bool on)
{
	atomic_set(&dia_hold, on);
	(void)gpio_pin_set_dt(&hs_dia_en, dia_user || on);
}

int channels_latch_clear(void)
{
	int ret = gpio_pin_set_dt(&hs_latch, 1);

	if (ret) {
		return ret;
	}

	k_msleep(1);
	return gpio_pin_set_dt(&hs_latch, 0);
}
```

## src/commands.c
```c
/* SPDX-License-Identifier: GPL-3.0-only */

/*
 * The console's commands and the status that answers them, see
 * common/wire/sat_wire.h and documentation/radio_link.md, "Commands and status".
 *
 * Every poll carries a command for this satellite. A command with a
 * request id is executed once: the console repeats it until the status
 * reports that id, and a repeat is only answered, never executed again.
 * That is what makes it safe to repeat FIRE.
 *
 * ARM runs its checks in the order the hardware allows (arm_run()):
 *   1. K1 open: each output's continuity reads OK or shorted, which also
 *      proves its low-side FET (not shorted with it off, conducting with
 *      it on). A shorted load is allowed: firing into it is the operator's
 *      call, and the TPS1HB08's current limit (~23.5 A with its 6k8 ILIM)
 *      and thermal shutdown protect the channel. A low side that conducts
 *      while off reads as a failed measurement, not as a short, and is
 *      refused;
 *   2. K1 closed, both FETs off: each high side switches, PYRO_H near 0 V
 *      off and near the rail on; the low side is known good, so no current
 *      reaches the igniter;
 *   3. the channels count as armed. Their FETs only go on, together, for a
 *      fire pulse or a held valve.
 * A failed check releases K1 and reports the channels in arm_refused.
 *
 * Without the continuity source (native_sim, the Nucleo) continuity is the
 * ADC reading taken as CONT_MOHM_PER_MV mOhm per mV, and there is no K1.
 */

#include <errno.h>
#include <string.h>
#include <zephyr/kernel.h>
#include <zephyr/logging/log.h>

#include "ignlog.h"
#include "lsec.h"
#include "sat_link.h"
#include "sat_wire.h"
#include "satellite.h"

LOG_MODULE_REGISTER(commands, LOG_LEVEL_INF);

#define FIRE_PULSE_MS     1000
#define SHORT_BELOW_MOHM  200
#define OPEN_ABOVE_MOHM   100000
#define CONT_MOHM_PER_MV  10
/* A reading older than this does not clear ARM; a round takes some 4 s. */
#define CONT_MAX_AGE_MS   8000
/* K1: the pump's first edge, the relay's operate time, the rail's rise. */
#define K1_SETTLE_MS      150
/* The high-side check, at the tap (PYRO_H / 4.3). */
#define HS_OFF_MAX_UV     200000    /* PYRO_H below 0.9 V */
#define HS_ON_MIN_UV      1000000   /* PYRO_H above 4.3 V */

BUILD_ASSERT(NUM_CHANNELS == SAT_CHANNELS);

static K_MUTEX_DEFINE(lock);
static struct sat_status st;
static uint8_t last_id;

/* ARM waiting for the main loop to run its checks, and which request it is. */
static uint8_t arm_pending;
static uint32_t arm_gen;
/* When each output's continuity was last measured, and which ones failed to. */
static int64_t cont_at[NUM_CHANNELS];
static uint8_t cont_failed;
/* For the LEDs, readable without the lock: outputs reading OK, and shorted or failed. */
static atomic_t cont_ok_mask;
static atomic_t cont_bad_mask;

/* One output's continuity, into the status. Main loop only. */
static void measure_one(int ch)
{
	struct cont_result r;
	enum continuity cont;
	int32_t res, mv;
	int ret = channels_continuity_mohm(ch, &r);

	if (ret == -EBUSY) {
		return;   /* armed: the low side cannot go on; the pre-arm reading stays */
	}
	if (ret == -ENOTSUP) {
		/* No continuity source: the ADC reading as it is. */
		ret = channels_continuity(ch, &mv);
		r.open = ret == 0 && (mv < 0 || (int64_t)mv * CONT_MOHM_PER_MV > OPEN_ABOVE_MOHM);
		r.mohm = r.open ? RES_OPEN_MOHM : mv * CONT_MOHM_PER_MV;
	}

	if (ret) {
		/* -ERANGE is what a low side shorted while off looks like. */
		if (!(cont_failed & BIT(ch))) {
			LOG_WRN("CH%d continuity: %d", ch + 1, ret);
		}
		res = RES_OPEN_MOHM;
		cont = CONT_OPEN;
	} else if (r.open || r.mohm > OPEN_ABOVE_MOHM) {
		res = RES_OPEN_MOHM;
		cont = CONT_OPEN;
	} else {
		res = r.mohm;
		cont = r.mohm < SHORT_BELOW_MOHM ? CONT_SHORT : CONT_OK;
	}

	k_mutex_lock(&lock, K_FOREVER);
	st.res_mohm[ch] = res;
	st.cont[ch] = cont;
	WRITE_BIT(cont_failed, ch, ret != 0);
	cont_at[ch] = k_uptime_get();
	k_mutex_unlock(&lock);

	if (cont == CONT_OK) {
		atomic_set_bit(&cont_ok_mask, ch);
	} else {
		atomic_clear_bit(&cont_ok_mask, ch);
	}
	if (ret || cont == CONT_SHORT) {
		atomic_set_bit(&cont_bad_mask, ch);
	} else {
		atomic_clear_bit(&cont_bad_mask, ch);
	}
}

void commands_cont_masks(uint8_t *ok, uint8_t *bad)
{
	*ok = (uint8_t)atomic_get(&cont_ok_mask);
	*bad = (uint8_t)atomic_get(&cont_bad_mask);
}

static void disarm_locked(void)
{
	arm_pending = 0;
	arm_gen++;
	for (int ch = 0; ch < NUM_CHANNELS; ch++) {
		channels_arm(ch, false);
	}
	(void)arm_relay_set(false);
}

void commands_disarm(const char *why)
{
	k_mutex_lock(&lock, K_FOREVER);
	if (!channels_all_safe() || arm_pending) {
		LOG_WRN("SAFE: %s", why);
		disarm_locked();
	}
	k_mutex_unlock(&lock);
}

/* ARM's checks, see the top of the file. Main loop, without the lock. */
static void arm_run(uint8_t mask, uint32_t gen)
{
	int64_t now = k_uptime_get();
	uint8_t refused = 0;
	int ret;

	k_mutex_lock(&lock, K_FOREVER);
	for (int ch = 0; ch < NUM_CHANNELS; ch++) {
		if ((mask & BIT(ch)) &&
		    (st.cont[ch] == CONT_OPEN || (cont_failed & BIT(ch)) ||
		     now - cont_at[ch] > CONT_MAX_AGE_MS)) {
			refused |= BIT(ch);
		}
	}
	k_mutex_unlock(&lock);

	if (refused) {
		LOG_WRN("ARM refused, continuity 0x%02x", refused);
	} else if (arm_key_on() == 0) {
		LOG_WRN("ARM refused, key switch SAFE");
		refused = mask;
	} else {
		ret = arm_relay_set(true);
		if (ret == 0) {
			k_msleep(K1_SETTLE_MS);
			for (int ch = 0; ch < NUM_CHANNELS; ch++) {
				int32_t off_uv = 0, on_uv = 0;

				if (!(mask & BIT(ch))) {
					continue;
				}
				ret = channels_check_high(ch, &off_uv, &on_uv);
				if (ret || off_uv > HS_OFF_MAX_UV || on_uv < HS_ON_MIN_UV) {
					LOG_WRN("CH%d high side failed: off %d uV, on %d uV (%d)",
						ch + 1, off_uv, on_uv, ret);
					refused |= BIT(ch);
				}
			}
		} else if (ret != -ENOTSUP) {
			LOG_ERR("arm relay: %d", ret);
			refused = mask;
		}
	}

	k_mutex_lock(&lock, K_FOREVER);
	if (gen != arm_gen) {
		/* DISARM came while the checks ran: it has released K1 already. */
		k_mutex_unlock(&lock);
		return;
	}
	arm_pending = 0;
	if (refused) {
		st.arm_refused = refused;
		(void)arm_relay_set(false);
	} else {
		for (int ch = 0; ch < NUM_CHANNELS; ch++) {
			if (mask & BIT(ch)) {
				channels_arm(ch, true);
			}
		}
		LOG_INF("ARMED, mask 0x%02x", mask);
	}
	k_mutex_unlock(&lock);
}

/*
 * The main loop's share: a pending ARM, else one output's continuity. The
 * ADCs are too slow for the few milliseconds between a poll and the reply
 * slot, and one output takes some 0.55 s.
 */
void commands_measure(void)
{
	static int next;
	uint8_t mask;
	uint32_t gen;
	int32_t mv;

	bool vbat_ok = rail_vbat_mv(&mv) == 0;

	k_mutex_lock(&lock, K_FOREVER);
	mask = arm_pending;
	gen = arm_gen;
	if (vbat_ok) {
		st.vbat_mv = mv;
	}
	/* No fire-rail current monitor on the board. */
	st.rail_ma = 0;
	k_mutex_unlock(&lock);

	if (mask) {
		arm_run(mask, gen);
		return;
	}

	/*
	 * Not with K1 closed: a channel that is not armed has not had its
	 * high side checked, and the measurement turns its low side on.
	 */
	if (arm_relay_on()) {
		return;
	}

	measure_one(next);
	next = (next + 1) % NUM_CHANNELS;
}

static void arm(uint8_t mask)
{
	if (!channels_all_safe() || arm_pending) {
		return;   /* armed or arming: ARM does not change the set */
	}

	st.arm_refused = 0;
	arm_pending = mask;
	arm_gen++;
}

static void fire(uint8_t mask)
{
	int ret = channels_pulse(mask, FIRE_PULSE_MS);

	if (ret) {
		LOG_WRN("FIRE refused, mask 0x%02x: %d", mask, ret);
		return;
	}
	st.fire_count++;
	LOG_INF("FIRING, mask 0x%02x", mask);
}

static void execute(const struct link_cmd *cmd)
{
	/* A repeat of the request executed last: only answer it. */
	if (cmd->id != 0 && cmd->id != last_id) {
		last_id = cmd->id;

		switch (cmd->type) {
		case CMD_ARM:
			arm(cmd->mask);
			break;
		case CMD_DISARM:
			st.arm_refused = 0;
			if (!channels_all_safe() || arm_pending) {
				LOG_INF("SAFE: disarm command");
			}
			disarm_locked();
			break;
		case CMD_FIRE:
			fire(cmd->mask);
			break;
		case CMD_HEARTBEAT:
			break;
		}
	}

	/* Valves are state, applied on every poll to armed channels only. */
	if (!channels_all_safe()) {
		uint8_t valves = cmd->valves & channels_armed_mask();

		if (valves != channels_valve_mask()) {
			LOG_INF("valves 0x%02x", valves);
		}
		channels_valves(valves);
	}
}

static size_t build_status(bool full, uint8_t *out)
{
	struct sat_link_state ls;
	uint8_t armed = channels_armed_mask();

	sat_link_state(&ls);

	st.seq++;
	st.state = channels_pulsing() ? SAT_FIRING : armed ? SAT_ARMED : SAT_SAFE;
	st.key_armed = arm_key_on() != 0;   /* -ENOTSUP without the input: no key */
	st.armed_mask = armed;
	st.firing_mask = channels_pulsing();
	st.valve_mask = channels_valve_mask();
	st.cmd_id = last_id;
	st.rssi_dbm = ls.rssi_dbm;
	st.snr_db = ls.snr_db;

	return wire_encode_status(&st, full, out);
}

/*
 * A log poll (sat_wire.h, "Ignition log download"): the index, or one
 * chunk of a record; the index too for a record that is gone.
 */
static void log_reply(const struct wire_log_req *req)
{
	static uint8_t buf[MAX(WIRE_LOG_CHUNK_LEN, WIRE_LOG_INDEX_LEN(WIRE_LOG_INDEX_MAX))];
	uint8_t data[WIRE_LOG_CHUNK_MAX];
	size_t len = 0;
	int ret;

	if (req->op == WIRE_LOG_OP_CHUNK) {
		size_t total;

		ret = ignlog_read(req->seq, req->off, data, sizeof(data), &total);
		if (ret >= 0) {
			struct wire_log_chunk c = {
				.seq = req->seq,
				.off = req->off,
				.total = total,
				.len = ret,
				.data = data,
			};

			len = wire_encode_log_chunk(&c, buf);
		}
	}
	if (len == 0) {
		struct wire_log_index ix;
		struct ignlog_store_view v;

		ignlog_view(&v);
		ix.store_id = v.store_id;
		ix.boots = v.boots;
		ix.now_ms = v.now_ms;
		ix.scale_na = v.scale_na;
		ix.count = MIN(v.count, WIRE_LOG_INDEX_MAX);
		memcpy(ix.e, v.e + (v.count - ix.count), ix.count * sizeof(ix.e[0]));
		len = wire_encode_log_index(&ix, buf);
	}

	ret = sat_link_reply(buf, len);
	if (ret) {
		LOG_WRN("log reply: %d", ret);
	}
}

void commands_on_poll(const struct lsec_event *ev)
{
	uint8_t buf[WIRE_STATUS_LEN];
	struct wire_log_req log_req;
	struct link_cmd cmd;
	bool full = false;
	size_t len;
	int ret;

	/* No command in a log poll; only the reply differs. */
	if (wire_decode_log_poll(ev->data, ev->len, &log_req) == 0) {
		log_reply(&log_req);
		return;
	}

	k_mutex_lock(&lock, K_FOREVER);
	if (wire_decode_poll(ev->data, ev->len, ev->rank, ev->count, &cmd, &full) == 0) {
		execute(&cmd);
	} else if (ev->len) {
		LOG_WRN("undecodable command, %u bytes", (unsigned)ev->len);
	}
	len = build_status(full, buf);
	k_mutex_unlock(&lock);

	ret = sat_link_reply(buf, len);
	if (ret) {
		LOG_WRN("status reply: %d", ret);
	}
}
```

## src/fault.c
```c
/* SPDX-License-Identifier: GPL-3.0-only */

/*
 * A fatal error (stack guard hit, hard fault, failed assert) reboots the
 * satellite instead of halting it. A halted satellite leaves its output pins
 * where they were, and its console with it: the log only goes out over USB,
 * so the fault dump never reaches anyone. The reason, the thread and the PC
 * survive the reboot in RAM; `sat fault` shows them, and the boot log too.
 */

#include <string.h>
#include <zephyr/fatal.h>
#include <zephyr/kernel.h>
#include <zephyr/linker/section_tags.h>
#include <zephyr/logging/log.h>
#include <zephyr/logging/log_ctrl.h>
#include <zephyr/shell/shell.h>
#include <zephyr/sys/reboot.h>

#include "satellite.h"

LOG_MODULE_REGISTER(fault, LOG_LEVEL_INF);

#define FAULT_MAGIC 0x46415554UL

struct fault_record {
	uint32_t magic;
	uint32_t reason;
	uint32_t pc;
	char thread[16];
	uint32_t check;
};

static __noinit struct fault_record noinit_fault;
/* The record from before this boot, if there was one. */
static struct fault_record last_fault;

static uint32_t record_check(const struct fault_record *r)
{
	uint32_t c = r->magic ^ r->reason ^ r->pc;

	for (size_t i = 0; i < sizeof(r->thread); i++) {
		c = (c << 5 | c >> 27) ^ (uint8_t)r->thread[i];
	}

	return c;
}

#ifndef CONFIG_ARCH_POSIX
void k_sys_fatal_error_handler(unsigned int reason, const struct arch_esf *esf)
{
	const char *name = k_thread_name_get(k_current_get());

	noinit_fault.magic = FAULT_MAGIC;
	noinit_fault.reason = reason;
#ifdef CONFIG_ARM
	noinit_fault.pc = esf ? esf->basic.pc : 0;
#else
	noinit_fault.pc = 0;
#endif
	memset(noinit_fault.thread, 0, sizeof(noinit_fault.thread));
	strncpy(noinit_fault.thread, name ? name : "?", sizeof(noinit_fault.thread) - 1);
	noinit_fault.check = record_check(&noinit_fault);

	LOG_PANIC();
	sys_reboot(SYS_REBOOT_COLD);
}
#endif

static const char *reason_name(uint32_t reason)
{
	switch (reason) {
	case K_ERR_CPU_EXCEPTION:
		return "CPU exception";
	case K_ERR_SPURIOUS_IRQ:
		return "spurious IRQ";
	case K_ERR_STACK_CHK_FAIL:
		return "stack overflow";
	case K_ERR_KERNEL_OOPS:
		return "kernel oops";
	case K_ERR_KERNEL_PANIC:
		return "kernel panic";
	default:
		return "fatal error";
	}
}

static int fault_init(void)
{
	if (noinit_fault.magic == FAULT_MAGIC && noinit_fault.check == record_check(&noinit_fault)) {
		last_fault = noinit_fault;
		LOG_ERR("rebooted after %s (%u) in thread %s, pc 0x%08x",
			reason_name(last_fault.reason), last_fault.reason, last_fault.thread,
			last_fault.pc);
	}
	memset(&noinit_fault, 0, sizeof(noinit_fault));

	return 0;
}

SYS_INIT(fault_init, APPLICATION, 0);

void fault_print(const struct shell *sh)
{
	if (last_fault.magic != FAULT_MAGIC) {
		shell_print(sh, "no fault before this boot");
		return;
	}

	shell_print(sh, "%s (%u) in thread %s, pc 0x%08x", reason_name(last_fault.reason),
		    last_fault.reason, last_fault.thread, last_fault.pc);
}
```

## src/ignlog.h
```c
/* SPDX-License-Identifier: GPL-3.0-only */

/*
 * The satellite's ignition log (ignlog.c): the current through each fired
 * channel, kept in RAM over resets. Records are in the format of
 * common/ignlog/ignlog_rec.h.
 */

#ifndef SAT_IGNLOG_H_
#define SAT_IGNLOG_H_

#include <stdbool.h>
#include <stddef.h>
#include <stdint.h>

#include "ignlog_rec.h"

/* Set up the sense inputs and keep or start the store. */
int ignlog_init(void);

/*
 * From channels.c: a pulse on the channels in @p mask starts now, and
 * ends. Start turns DIA_EN on before it returns.
 */
void ignlog_start(uint8_t mask, uint32_t pulse_ms);
void ignlog_stop(void);
bool ignlog_recording(void);

/* The records held, oldest first: the newest IGNLOG_LIST_MAX of them. */
void ignlog_view(struct ignlog_store_view *v);
/*
 * Copy up to @p len bytes of record @p seq from @p off. Returns the number
 * copied, with the record's size in @p total; -ENOENT if it is not held.
 */
int ignlog_read(uint32_t seq, size_t off, uint8_t *buf, size_t len, size_t *total);
/* -EBUSY while a pulse is being recorded. */
int ignlog_clear(void);

#endif /* SAT_IGNLOG_H_ */
```
